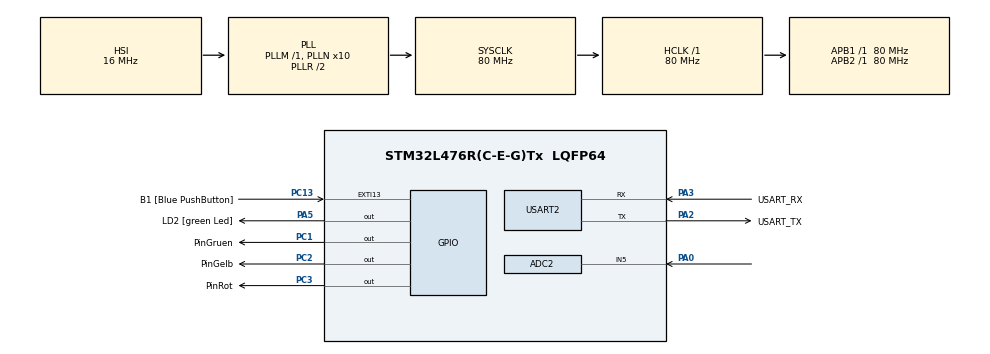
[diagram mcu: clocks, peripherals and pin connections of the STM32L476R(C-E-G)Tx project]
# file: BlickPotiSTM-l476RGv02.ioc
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ADC2.Channel-0\#ChannelRegularConversion=ADC_CHANNEL_5
ADC2.NbrOfConversionFlag=1
ADC2.OffsetNumber-0\#ChannelRegularConversion=ADC_OFFSET_NONE
ADC2.Rank-0\#ChannelRegularConversion=1
ADC2.SamplingTime-0\#ChannelRegularConversion=ADC_SAMPLETIME_2CYCLES_5
Mcu.Family=STM32L4
Mcu.Name=STM32L476R(C-E-G)Tx
Mcu.Package=LQFP64
NVIC.PriorityGroup=NVIC_PRIORITYGROUP_4
PA0.Signal=ADCx_IN5
PA13\ (JTMS-SWDIO).GPIO_Label=TMS
PA13\ (JTMS-SWDIO).Mode=Serial_Wire
PA13\ (JTMS-SWDIO).Signal=SYS_JTMS-SWDIO
PA14\ (JTCK-SWCLK).GPIO_Label=TCK
PA14\ (JTCK-SWCLK).Mode=Serial_Wire
PA14\ (JTCK-SWCLK).Signal=SYS_JTCK-SWCLK
PA2.GPIO_Label=USART_TX
PA2.GPIO_Mode=GPIO_MODE_AF_PP
PA2.GPIO_PuPd=GPIO_NOPULL
PA2.GPIO_Speed=GPIO_SPEED_FREQ_VERY_HIGH
PA2.Mode=Asynchronous
PA2.Signal=USART2_TX
PA3.GPIO_Label=USART_RX
PA3.GPIO_Mode=GPIO_MODE_AF_PP
PA3.GPIO_PuPd=GPIO_NOPULL
PA3.GPIO_Speed=GPIO_SPEED_FREQ_VERY_HIGH
PA3.Mode=Asynchronous
PA3.Signal=USART2_RX
PA5.GPIO_Label=LD2 [green Led]
PA5.GPIO_ModeDefaultOutputPP=GPIO_MODE_OUTPUT_PP
PA5.GPIO_PuPd=GPIO_NOPULL
PA5.GPIO_Speed=GPIO_SPEED_FREQ_LOW
PA5.Signal=GPIO_Output
PB3\ (JTDO-TRACESWO).GPIO_Label=SWO
PB3\ (JTDO-TRACESWO).Signal=SYS_JTDO-SWO
PC1.GPIO_Label=PinGruen
PC1.Signal=GPIO_Output
PC13.GPIO_Label=B1 [Blue PushButton]
PC13.GPIO_ModeDefaultEXTI=GPIO_MODE_IT_FALLING
PC13.GPIO_PuPd=GPIO_NOPULL
PC13.Signal=GPXTI13
PC14-OSC32_IN\ (PC14).Mode=LSE-External-Oscillator
PC14-OSC32_IN\ (PC14).Signal=RCC_OSC32_IN
PC15-OSC32_OUT\ (PC15).Mode=LSE-External-Oscillator
PC15-OSC32_OUT\ (PC15).Signal=RCC_OSC32_OUT
PC2.GPIO_Label=PinGelb
PC2.Signal=GPIO_Output
PC3.GPIO_Label=PinRot
PC3.Signal=GPIO_Output
PH0-OSC_IN\ (PH0).Signal=RCC_OSC_IN
PH1-OSC_OUT\ (PH1).Signal=RCC_OSC_OUT
ProjectManager.HeapSize=0x200
ProjectManager.StackSize=0x400
ProjectManager.TargetToolchain=STM32CubeIDE
RCC.ADCFreq_Value=64000000
RCC.AHBFreq_Value=80000000
RCC.APB1Freq_Value=80000000
RCC.APB1TimFreq_Value=80000000
RCC.APB2Freq_Value=80000000
RCC.APB2TimFreq_Value=80000000
RCC.CortexFreq_Value=80000000
RCC.HCLKFreq_Value=80000000
RCC.HSE_VALUE=8000000
RCC.HSI_VALUE=16000000
RCC.MSI_VALUE=4000000
RCC.PLLN=10
RCC.PLLSourceVirtual=RCC_PLLSOURCE_HSI
RCC.PREFETCH_ENABLE=1
RCC.SYSCLKFreq_VALUE=80000000
RCC.SYSCLKSource=RCC_SYSCLKSOURCE_PLLCLK
RCC.USBFreq_Value=64000000
RCC.VCOOutputFreq_Value=160000000
SH.ADCx_IN5.0=ADC2_IN5,IN5-Single-Ended
USART2.VirtualMode-Asynchronous=VM_ASYNC
board=NUCLEO-L476RG

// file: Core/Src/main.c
/* USER CODE BEGIN Header */
/**
 ******************************************************************************
 * @file           : main.c
 * @brief          : Main program body
 ******************************************************************************
 * @attention
 *
 * <h2><center>&copy; Copyright (c) 2020 STMicroelectronics.
 * All rights reserved.</center></h2>
 *
 * This software component is licensed by ST under BSD 3-Clause license,
 * the "License"; You may not use this file except in compliance with the
 * License. You may obtain a copy of the License at:
 *                        opensource.org/licenses/BSD-3-Clause
 *
 ******************************************************************************
 */
/* USER CODE END Header */
#include "main.h"

ADC_HandleTypeDef hadc2;

UART_HandleTypeDef huart2;

void SystemClock_Config(void);
static void MX_GPIO_Init(void);
static void MX_USART2_UART_Init(void);
static void MX_ADC2_Init(void);
/* USER CODE BEGIN PFP */
void debugPrint(UART_HandleTypeDef *huart, char _out[])
{
	HAL_UART_Transmit(huart, (uint8_t*) _out, strlen(_out), 10);
}
/* USER CODE END PFP */

int main(void)
{

  /* MCU Configuration--------------------------------------------------------*/

  /* Reset of all peripherals, Initializes the Flash interface and the Systick. */
  HAL_Init();

  /* Configure the system clock */
  SystemClock_Config();

  /* Initialize all configured peripherals */
  MX_GPIO_Init();
  MX_USART2_UART_Init();
  MX_ADC2_Init();
  /* USER CODE BEGIN 2 */
	uint32_t adcWert = 0;
	char str[5];
  /* USER CODE END 2 */

  /* Infinite loop */
  /* USER CODE BEGIN WHILE */
	while (1)
	{
		HAL_ADC_Start(&hadc2);
		HAL_ADC_PollForConversion(&hadc2, HAL_MAX_DELAY);
		adcWert = HAL_ADC_GetValue(&hadc2);
		sprintf(str, "%u\n", adcWert);
		debugPrint(&huart2, str);
		HAL_Delay(100);
		if (adcWert > 3000)
		{
			HAL_GPIO_WritePin(PinGruen_GPIO_Port, PinGruen_Pin, GPIO_PIN_SET);
			HAL_GPIO_WritePin(PinGelb_GPIO_Port, PinGelb_Pin, GPIO_PIN_RESET);
			HAL_GPIO_WritePin(PinRot_GPIO_Port, PinRot_Pin, GPIO_PIN_RESET);
		}
		if (adcWert >= 1000 && adcWert <= 3000)
		{
			HAL_GPIO_WritePin(PinGruen_GPIO_Port, PinGruen_Pin, GPIO_PIN_RESET);
			HAL_GPIO_WritePin(PinGelb_GPIO_Port, PinGelb_Pin, GPIO_PIN_SET);
			HAL_GPIO_WritePin(PinRot_GPIO_Port, PinRot_Pin, GPIO_PIN_RESET);
		}

		if (adcWert < 1000)
		{
			HAL_GPIO_WritePin(PinGruen_GPIO_Port, PinGruen_Pin, GPIO_PIN_RESET);
			HAL_GPIO_WritePin(PinGelb_GPIO_Port, PinGelb_Pin, GPIO_PIN_RESET);
			HAL_GPIO_WritePin(PinRot_GPIO_Port, PinRot_Pin, GPIO_PIN_SET);
		}
    /* USER CODE END WHILE */

	}
}

void SystemClock_Config(void)
{
  RCC_OscInitTypeDef RCC_OscInitStruct = {0};
  RCC_ClkInitTypeDef RCC_ClkInitStruct = {0};
  RCC_PeriphCLKInitTypeDef PeriphClkInit = {0};

  /** Initializes the RCC Oscillators according to the specified parameters
  * in the RCC_OscInitTypeDef structure.
  */
  RCC_OscInitStruct.OscillatorType = RCC_OSCILLATORTYPE_HSI;
  RCC_OscInitStruct.HSIState = RCC_HSI_ON;
  RCC_OscInitStruct.HSICalibrationValue = RCC_HSICALIBRATION_DEFAULT;
  RCC_OscInitStruct.PLL.PLLState = RCC_PLL_ON;
  RCC_OscInitStruct.PLL.PLLSource = RCC_PLLSOURCE_HSI;
  RCC_OscInitStruct.PLL.PLLM = 1;
  RCC_OscInitStruct.PLL.PLLN = 10;
  RCC_OscInitStruct.PLL.PLLP = RCC_PLLP_DIV7;
  RCC_OscInitStruct.PLL.PLLQ = RCC_PLLQ_DIV2;
  RCC_OscInitStruct.PLL.PLLR = RCC_PLLR_DIV2;
  if (HAL_RCC_OscConfig(&RCC_OscInitStruct) != HAL_OK)
  {
    Error_Handler();
  }
  /** Initializes the CPU, AHB and APB buses clocks
  */
  RCC_ClkInitStruct.ClockType = RCC_CLOCKTYPE_HCLK|RCC_CLOCKTYPE_SYSCLK
                              |RCC_CLOCKTYPE_PCLK1|RCC_CLOCKTYPE_PCLK2;
  RCC_ClkInitStruct.SYSCLKSource = RCC_SYSCLKSOURCE_PLLCLK;
  RCC_ClkInitStruct.AHBCLKDivider = RCC_SYSCLK_DIV1;
  RCC_ClkInitStruct.APB1CLKDivider = RCC_HCLK_DIV1;
  RCC_ClkInitStruct.APB2CLKDivider = RCC_HCLK_DIV1;

  if (HAL_RCC_ClockConfig(&RCC_ClkInitStruct, FLASH_LATENCY_4) != HAL_OK)
  {
    Error_Handler();
  }
  PeriphClkInit.PeriphClockSelection = RCC_PERIPHCLK_USART2|RCC_PERIPHCLK_ADC;
  PeriphClkInit.Usart2ClockSelection = RCC_USART2CLKSOURCE_PCLK1;
  PeriphClkInit.AdcClockSelection = RCC_ADCCLKSOURCE_PLLSAI1;
  PeriphClkInit.PLLSAI1.PLLSAI1Source = RCC_PLLSOURCE_HSI;
  PeriphClkInit.PLLSAI1.PLLSAI1M = 1;
  PeriphClkInit.PLLSAI1.PLLSAI1N = 8;
  PeriphClkInit.PLLSAI1.PLLSAI1P = RCC_PLLP_DIV7;
  PeriphClkInit.PLLSAI1.PLLSAI1Q = RCC_PLLQ_DIV2;
  PeriphClkInit.PLLSAI1.PLLSAI1R = RCC_PLLR_DIV2;
  PeriphClkInit.PLLSAI1.PLLSAI1ClockOut = RCC_PLLSAI1_ADC1CLK;
  if (HAL_RCCEx_PeriphCLKConfig(&PeriphClkInit) != HAL_OK)
  {
    Error_Handler();
  }
  /** Configure the main internal regulator output voltage
  */
  if (HAL_PWREx_ControlVoltageScaling(PWR_REGULATOR_VOLTAGE_SCALE1) != HAL_OK)
  {
    Error_Handler();
  }
}

static void MX_ADC2_Init(void)
{

  ADC_ChannelConfTypeDef sConfig = {0};

  /** Common config
  */
  hadc2.Instance = ADC2;
  hadc2.Init.ClockPrescaler = ADC_CLOCK_ASYNC_DIV1;
  hadc2.Init.Resolution = ADC_RESOLUTION_12B;
  hadc2.Init.DataAlign = ADC_DATAALIGN_RIGHT;
  hadc2.Init.ScanConvMode = ADC_SCAN_DISABLE;
  hadc2.Init.EOCSelection = ADC_EOC_SINGLE_CONV;
  hadc2.Init.LowPowerAutoWait = DISABLE;
  hadc2.Init.ContinuousConvMode = DISABLE;
  hadc2.Init.NbrOfConversion = 1;
  hadc2.Init.DiscontinuousConvMode = DISABLE;
  hadc2.Init.ExternalTrigConv = ADC_SOFTWARE_START;
  hadc2.Init.ExternalTrigConvEdge = ADC_EXTERNALTRIGCONVEDGE_NONE;
  hadc2.Init.DMAContinuousRequests = DISABLE;
  hadc2.Init.Overrun = ADC_OVR_DATA_PRESERVED;
  hadc2.Init.OversamplingMode = DISABLE;
  if (HAL_ADC_Init(&hadc2) != HAL_OK)
  {
    Error_Handler();
  }
  /** Configure Regular Channel
  */
  sConfig.Channel = ADC_CHANNEL_5;
  sConfig.Rank = ADC_REGULAR_RANK_1;
  sConfig.SamplingTime = ADC_SAMPLETIME_2CYCLES_5;
  sConfig.SingleDiff = ADC_SINGLE_ENDED;
  sConfig.OffsetNumber = ADC_OFFSET_NONE;
  sConfig.Offset = 0;
  if (HAL_ADC_ConfigChannel(&hadc2, &sConfig) != HAL_OK)
  {
    Error_Handler();
  }

}

static void MX_USART2_UART_Init(void)
{

  huart2.Instance = USART2;
  huart2.Init.BaudRate = 115200;
  huart2.Init.WordLength = UART_WORDLENGTH_8B;
  huart2.Init.StopBits = UART_STOPBITS_1;
  huart2.Init.Parity = UART_PARITY_NONE;
  huart2.Init.Mode = UART_MODE_TX_RX;
  huart2.Init.HwFlowCtl = UART_HWCONTROL_NONE;
  huart2.Init.OverSampling = UART_OVERSAMPLING_16;
  huart2.Init.OneBitSampling = UART_ONE_BIT_SAMPLE_DISABLE;
  huart2.AdvancedInit.AdvFeatureInit = UART_ADVFEATURE_NO_INIT;
  if (HAL_UART_Init(&huart2) != HAL_OK)
  {
    Error_Handler();
  }

}

static void MX_GPIO_Init(void)
{
  GPIO_InitTypeDef GPIO_InitStruct = {0};

  /* GPIO Ports Clock Enable */
  __HAL_RCC_GPIOC_CLK_ENABLE();
  __HAL_RCC_GPIOH_CLK_ENABLE();
  __HAL_RCC_GPIOA_CLK_ENABLE();
  __HAL_RCC_GPIOB_CLK_ENABLE();

  /*Configure GPIO pin Output Level */
  HAL_GPIO_WritePin(GPIOC, PinGruen_Pin|PinGelb_Pin|PinRot_Pin, GPIO_PIN_RESET);

  /*Configure GPIO pin Output Level */
  HAL_GPIO_WritePin(LD2_GPIO_Port, LD2_Pin, GPIO_PIN_RESET);

  /*Configure GPIO pin : B1_Pin */
  GPIO_InitStruct.Pin = B1_Pin;
  GPIO_InitStruct.Mode = GPIO_MODE_IT_FALLING;
  GPIO_InitStruct.Pull = GPIO_NOPULL;
  HAL_GPIO_Init(B1_GPIO_Port, &GPIO_InitStruct);

  /*Configure GPIO pins : PinGruen_Pin PinGelb_Pin PinRot_Pin */
  GPIO_InitStruct.Pin = PinGruen_Pin|PinGelb_Pin|PinRot_Pin;
  GPIO_InitStruct.Mode = GPIO_MODE_OUTPUT_PP;
  GPIO_InitStruct.Pull = GPIO_NOPULL;
  GPIO_InitStruct.Speed = GPIO_SPEED_FREQ_LOW;
  HAL_GPIO_Init(GPIOC, &GPIO_InitStruct);

  /*Configure GPIO pin : LD2_Pin */
  GPIO_InitStruct.Pin = LD2_Pin;
  GPIO_InitStruct.Mode = GPIO_MODE_OUTPUT_PP;
  GPIO_InitStruct.Pull = GPIO_NOPULL;
  GPIO_InitStruct.Speed = GPIO_SPEED_FREQ_LOW;
  HAL_GPIO_Init(LD2_GPIO_Port, &GPIO_InitStruct);

}

void Error_Handler(void)
{
}

/************************ (C) COPYRIGHT STMicroelectronics *****END OF FILE****/
